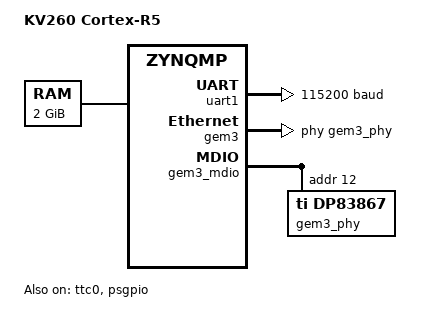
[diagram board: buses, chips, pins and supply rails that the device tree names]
/*
 * Copyright (c) 2025 Advanced Micro Devices, Inc.
 *
 * SPDX-License-Identifier: Apache-2.0
 *
 */

/dts-v1/;
#include <arm/xilinx/zynqmp_rpu.dtsi>

/ {
	model = "KV260 Cortex-R5";
	compatible = "xlnx,zynqmp-r5";

	sram0: memory@100000 {
		compatible = "mmio-sram";
		reg = <0x100000 0x7fefffff>;
	};

	chosen {
		zephyr,sram = &sram0;
		zephyr,flash = &flash0;
		zephyr,console = &uart1;
		zephyr,shell-uart = &uart1;
		zephyr,ocm = &ocm;
	};
};

&uart1 {
	status = "okay";
	current-speed = <115200>;
	clock-frequency = <99999901>;
};

&ttc0 {
	status = "okay";
	clock-frequency = <100000000>;
};

&psgpio {
	status = "okay";
};

&gem3 {
        status = "okay";
	phy-handle = <&gem3_phy>;
	clock-frequency = <125000000>;
        local-mac-address = [00 00 00 01 02 03];
};

&gem3_mdio {
	compatible = "xlnx,gem-mdio";
	status = "okay";

	gem3_phy: phy@c {
		compatible = "ti,dp83867";
		reg = <0xc>;
		status = "okay";
		ti,interface-type = "rgmii-id";
		ti,rx-internal-delay = <0x8>;
		ti,tx-internal-delay = <0xa>;

	};
};
